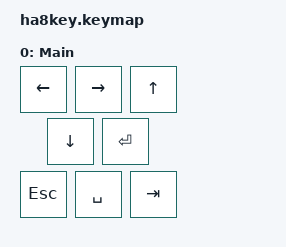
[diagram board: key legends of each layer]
#include <behaviors.dtsi>
#include <dt-bindings/zmk/keys.h>
#include <dt-bindings/zmk/bt.h>

/ {
    combos {
        compatible = "zmk,combos";

        studio_unlock_combo {
            timeout-ms = <100>;
            key-positions = <0 7>;
            bindings = <&studio_unlock>;
        };       
bootloader_combo {
            timeout-ms = <100>;
            key-positions = <5 6>;
            bindings = <&bootloader>;
        };
        bt_clear_combo {
            timeout-ms = <100>;
            key-positions = <3 4>;
            bindings = <&bt BT_CLR_ALL>;
        };
    };

    keymap {
        compatible = "zmk,keymap";

        default_layer {
            display-name = "Main";
            bindings = <
                &kp LEFT  &kp RIGHT &kp UP    &kp DOWN
                &kp ENTER &kp ESC   &kp SPACE &kp TAB
            >;
        };
    };
};
